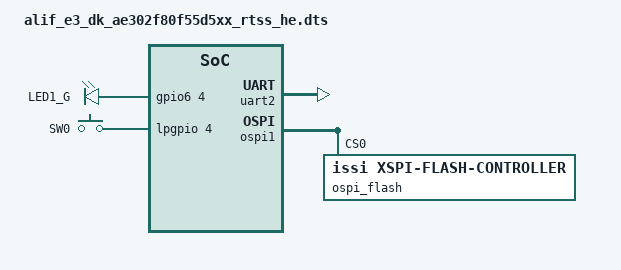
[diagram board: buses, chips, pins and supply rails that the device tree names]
/* Copyright (c) 2025 Alif Semiconductor
 *
 * SPDX-License-Identifier: Apache-2.0
 */

/dts-v1/;

#include <alif/ensemble/e3/ae302f80f55d5xx.dtsi>
#include <alif/ensemble/common/ensemble_rtss_he.dtsi>
#include "../common/ensemble-pinctrl.dtsi"

/ {
	compatible = "arm,alif-e3-dk-ae302f80f55d5xx-rtss-he";
	#address-cells = <1>;
	#size-cells = <1>;

	chosen {
		zephyr,flash = &mram_storage;
		zephyr,code-partition = &slot0_partition;
		zephyr,sram = &dtcm;
		zephyr,console = &uart2;
		zephyr,shell-uart = &uart2;
		zephyr,uart-mcumgr = &uart2;
	};

	aliases {
		led0 = &aled0;
		sw0 = &button0;
	};

	leds {
		compatible = "gpio-leds";

		aled0: led_0 {
			gpios = <&gpio6 4 0>;
			label = "LED1_G";
		};
	};

	buttons {
		compatible = "gpio-keys";

		button0: button_0 {
			gpios = < &lpgpio 4 0 >;
			label = "SW0";
		};
	};
};

&lpgpio {
	status = "okay";
};

&gpio6 {
	status = "okay";
};

&uart2 {
	status = "okay";
};

&ospi1 {
	/* External Flash on OSPI */
	ospi_flash: ospi_flash@0 {
		compatible = "issi,xspi-flash-controller";
		reg = <0x0>;
		erase-value = <0xff>;
		num-of-sector = <16384>;
		page-size = <4096>;
		sector-size = <4096>;
		write-block-size = <2>;

		/* Flash Size 64MB */
		#address-cells = <1>;
		#size-cells = <1>;

		flash_storage: flash_storage@0 {
			compatible = "soc-nv-flash";
			reg = <0x0 DT_SIZE_M(64)>;
			erase-block-size = <DT_SIZE_K(4)>;
			write-block-size = <2>;
		};
	};
};
